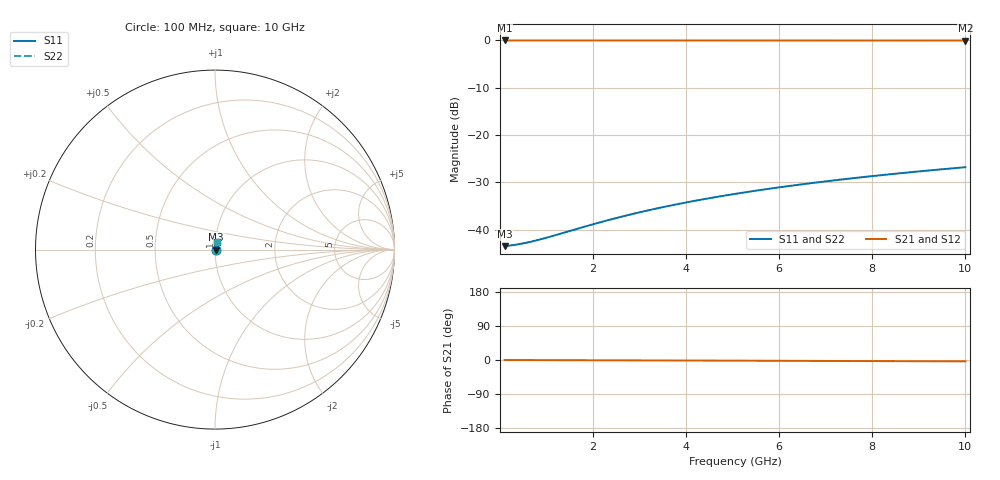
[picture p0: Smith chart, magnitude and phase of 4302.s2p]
# Hz S RI R 50.00
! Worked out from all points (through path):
!   100 points, 100 MHz to 10 GHz, reference 50 ohm
!   highest |S21| = -0.06 dB at 100 MHz (marker M1); lowest = -0.1 dB at 10 GHz (marker M2)
!   lowest |S11| = -43.5 dB at 100 MHz (marker M3), VSWR 1.01, Z = 50.7 + j0.0453 ohm
!   |S11| at or under -10 dB: start of sweep to end of sweep
!   |S22| runs from -43.5 to -26.8 dB; largest |S21 - S12| = 0
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1e8  0.00669 0.000447  0.9933 -0.000621  0.9933 -0.000621  0.00669 0.000447
3e8  0.00677 0.00134  0.9932 -0.00186  0.9932 -0.00186  0.00677 0.00134
4e8  0.0068 0.00179  0.9932 -0.00248  0.9932 -0.00248  0.0068 0.00179
5e8  0.00682 0.00223  0.9932 -0.0031  0.9932 -0.0031  0.00682 0.00223
7e8  0.00686 0.00313  0.9931 -0.00434  0.9931 -0.00434  0.00686 0.00313
9e8  0.0069 0.00402  0.9931 -0.00558  0.9931 -0.00558  0.0069 0.00402
1.1e9  0.00694 0.00491  0.9931 -0.00682  0.9931 -0.00682  0.00694 0.00491
1.8e9  0.00707 0.00804  0.9929 -0.0112  0.9929 -0.0112  0.00707 0.00804
2.2e9  0.00714 0.00983  0.9928 -0.0136  0.9928 -0.0136  0.00714 0.00983
2.6e9  0.00722 0.0116  0.9928 -0.0161  0.9928 -0.0161  0.00722 0.0116
3e9  0.00731 0.0134  0.9927 -0.0186  0.9927 -0.0186  0.00731 0.0134
3.4e9  0.0074 0.0152  0.9926 -0.0211  0.9926 -0.0211  0.0074 0.0152
3.8e9  0.0075 0.017  0.9925 -0.0236  0.9925 -0.0236  0.0075 0.017
4.2e9  0.00761 0.0187  0.9924 -0.026  0.9924 -0.026  0.00761 0.0187
4.6e9  0.00773 0.0205  0.9922 -0.0285  0.9922 -0.0285  0.00773 0.0205
5.1e9  0.00789 0.0228  0.9921 -0.0316  0.9921 -0.0316  0.00789 0.0228
5.9e9  0.00816 0.0263  0.9918 -0.0366  0.9918 -0.0366  0.00816 0.0263
6.7e9  0.00848 0.0299  0.9914 -0.0415  0.9914 -0.0415  0.00848 0.0299
7.5e9  0.00882 0.0334  0.9911 -0.0465  0.9911 -0.0465  0.00882 0.0334
8.4e9  0.00925 0.0374  0.9906 -0.052  0.9906 -0.052  0.00925 0.0374
9.2e9  0.00967 0.041  0.9902 -0.057  0.9902 -0.057  0.00967 0.041
1e10  0.0101 0.0445  0.9897 -0.0619  0.9897 -0.0619  0.0101 0.0445
